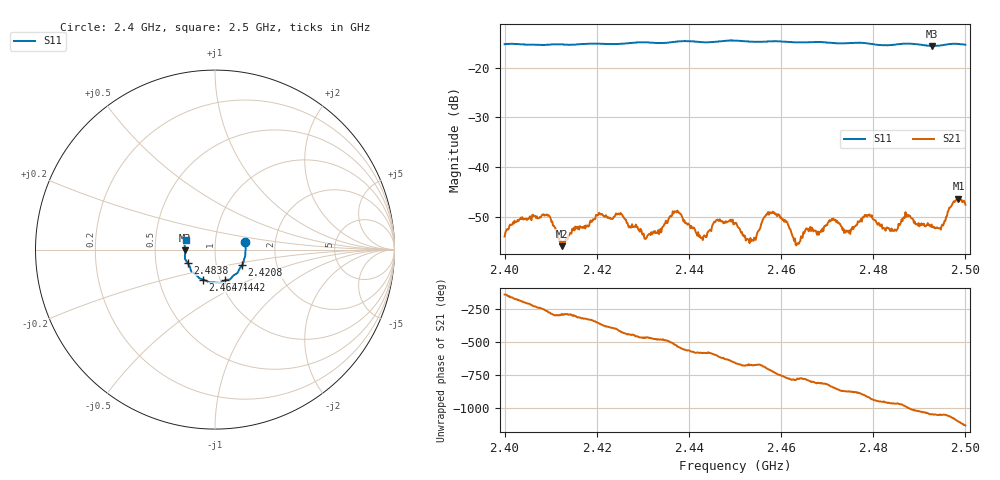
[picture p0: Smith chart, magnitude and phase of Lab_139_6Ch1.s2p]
# Hz S RI R 50
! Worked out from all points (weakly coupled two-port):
!   601 points, 2.4 GHz to 2.5 GHz, reference 50 ohm
!   highest |S21| = -46.39 dB at 2.4985 GHz (marker M1); lowest = -56.0 dB at 2.4125 GHz (marker M2)
!   lowest |S11| = -15.6 dB at 2.4928 GHz (marker M3), VSWR 1.40, Z = 35.8 - j0.351 ohm
!   |S11| at or under -10 dB: start of sweep to end of sweep
!   S12 and S22 are empty: the file has one direction only
!   S11 on the Smith chart (normalised r, x): 2.4 GHz: 1.40, +0.12; 2.4208 GHz: 1.33, -0.24; 2.4442 GHz: 1.05, -0.37; 2.4647 GHz: 0.83, -0.29; 2.4838 GHz: 0.73, -0.11; 2.5 GHz: 0.72, +0.08
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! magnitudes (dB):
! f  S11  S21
! 2.4 GHz  -15.3  -54.0
! 2.409 GHz  -15.4  -49.7
! 2.4125 GHz  -15.3  -56.0
! 2.4167 GHz  -15.2  -52.2
! 2.4208 GHz  -15.2  -49.6
! 2.4333 GHz  -15.0  -52.7
! 2.4373 GHz  -14.7  -49.2
! 2.4442 GHz  -14.9  -53.1
! 2.45 GHz  -14.5  -51.4
! 2.4535 GHz  -14.7  -55.0
! 2.458 GHz  -14.7  -49.3
! 2.4633 GHz  -14.9  -55.8
! 2.4647 GHz  -14.9  -54.2
! 2.4667 GHz  -14.8  -52.2
! 2.4745 GHz  -15.0  -53.0
! 2.4787 GHz  -15.1  -50.0
! 2.4833 GHz  -15.5  -52.4
! 2.4838 GHz  -15.4  -52.9
! 2.4875 GHz  -15.2  -49.6
! 2.4928 GHz  -15.6  -52.1
! 2.4985 GHz  -15.2  -46.4
! 2.5 GHz  -15.4  -47.6
